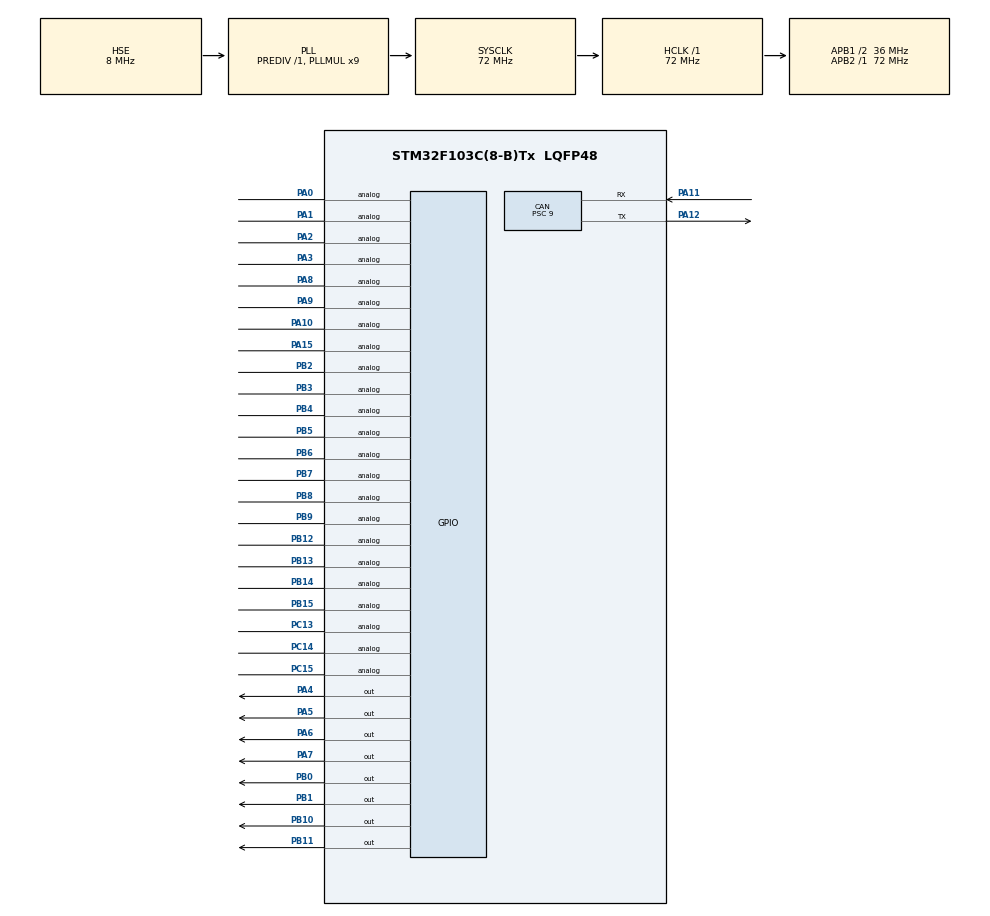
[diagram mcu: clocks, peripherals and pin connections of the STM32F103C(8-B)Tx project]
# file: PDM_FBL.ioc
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CAN.ABOM=ENABLE
CAN.AWUM=ENABLE
CAN.BS1=CAN_BS1_5TQ
CAN.BS2=CAN_BS2_2TQ
CAN.CalculateBaudRate=500000
CAN.CalculateTimeBit=2000
CAN.CalculateTimeQuantum=250.0
CAN.NART=ENABLE
CAN.Prescaler=9
CAN.RFLM=ENABLE
CAN.TTCM=ENABLE
CAN.TXFP=ENABLE
Mcu.Family=STM32F1
Mcu.Name=STM32F103C(8-B)Tx
Mcu.Package=LQFP48
NVIC.CAN1_RX1_IRQn=true\:0\:0\:true\:true\:true\:2\:true\:true\:true
NVIC.CAN1_SCE_IRQn=true\:0\:0\:true\:true\:true\:1\:true\:true\:true
NVIC.FLASH_IRQn=true\:5\:0\:true\:true\:true\:4\:true\:true\:true
NVIC.PVD_IRQn=true\:6\:0\:true\:true\:true\:5\:true\:true\:true
NVIC.PriorityGroup=NVIC_PRIORITYGROUP_4
NVIC.RCC_IRQn=true\:4\:0\:true\:true\:true\:3\:true\:false\:true
NVIC.USB_HP_CAN1_TX_IRQn=true\:0\:0\:false\:true\:true\:6\:true\:true\:true
NVIC.USB_LP_CAN1_RX0_IRQn=true\:0\:0\:false\:true\:true\:7\:true\:true\:true
PA0-WKUP.Signal=GPIO_Analog
PA1.Signal=GPIO_Analog
PA10.Signal=GPIO_Analog
PA11.GPIO_PuPd=GPIO_PULLUP
PA11.Mode=CAN_Activate
PA11.Signal=CAN_RX
PA12.Mode=CAN_Activate
PA12.Signal=CAN_TX
PA13.Mode=Serial_Wire
PA13.Signal=SYS_JTMS-SWDIO
PA14.Mode=Serial_Wire
PA14.Signal=SYS_JTCK-SWCLK
PA15.Signal=GPIO_Analog
PA2.Signal=GPIO_Analog
PA3.Signal=GPIO_Analog
PA4.GPIO_ModeDefaultOutputPP=GPIO_MODE_OUTPUT_PP
PA4.GPIO_PuPd=GPIO_PULLUP
PA4.GPIO_Speed=GPIO_SPEED_FREQ_HIGH
PA4.PinState=GPIO_PIN_SET
PA4.Signal=GPIO_Output
PA5.GPIO_ModeDefaultOutputPP=GPIO_MODE_OUTPUT_PP
PA5.GPIO_PuPd=GPIO_PULLUP
PA5.GPIO_Speed=GPIO_SPEED_FREQ_HIGH
PA5.PinState=GPIO_PIN_SET
PA5.Signal=GPIO_Output
PA6.GPIO_ModeDefaultOutputPP=GPIO_MODE_OUTPUT_PP
PA6.GPIO_PuPd=GPIO_PULLUP
PA6.GPIO_Speed=GPIO_SPEED_FREQ_HIGH
PA6.PinState=GPIO_PIN_SET
PA6.Signal=GPIO_Output
PA7.GPIO_ModeDefaultOutputPP=GPIO_MODE_OUTPUT_PP
PA7.GPIO_PuPd=GPIO_PULLUP
PA7.GPIO_Speed=GPIO_SPEED_FREQ_HIGH
PA7.PinState=GPIO_PIN_SET
PA7.Signal=GPIO_Output
PA8.Signal=GPIO_Analog
PA9.Signal=GPIO_Analog
PB0.GPIO_ModeDefaultOutputPP=GPIO_MODE_OUTPUT_PP
PB0.GPIO_PuPd=GPIO_PULLUP
PB0.GPIO_Speed=GPIO_SPEED_FREQ_HIGH
PB0.PinState=GPIO_PIN_SET
PB0.Signal=GPIO_Output
PB1.GPIO_ModeDefaultOutputPP=GPIO_MODE_OUTPUT_PP
PB1.GPIO_PuPd=GPIO_PULLUP
PB1.GPIO_Speed=GPIO_SPEED_FREQ_HIGH
PB1.PinState=GPIO_PIN_SET
PB1.Signal=GPIO_Output
PB10.GPIO_ModeDefaultOutputPP=GPIO_MODE_OUTPUT_PP
PB10.GPIO_PuPd=GPIO_PULLUP
PB10.GPIO_Speed=GPIO_SPEED_FREQ_HIGH
PB10.PinState=GPIO_PIN_SET
PB10.Signal=GPIO_Output
PB11.GPIO_ModeDefaultOutputPP=GPIO_MODE_OUTPUT_PP
PB11.GPIO_PuPd=GPIO_PULLUP
PB11.GPIO_Speed=GPIO_SPEED_FREQ_HIGH
PB11.PinState=GPIO_PIN_SET
PB11.Signal=GPIO_Output
PB12.Signal=GPIO_Analog
PB13.Signal=GPIO_Analog
PB14.Signal=GPIO_Analog
PB15.Signal=GPIO_Analog
PB2.Signal=GPIO_Analog
PB3.Signal=GPIO_Analog
PB4.Signal=GPIO_Analog
PB5.Signal=GPIO_Analog
PB6.Signal=GPIO_Analog
PB7.Signal=GPIO_Analog
PB8.Signal=GPIO_Analog
PB9.Signal=GPIO_Analog
PC13-TAMPER-RTC.Signal=GPIO_Analog
PC14-OSC32_IN.Signal=GPIO_Analog
PC15-OSC32_OUT.Signal=GPIO_Analog
PD0-OSC_IN.Mode=HSE-External-Oscillator
PD0-OSC_IN.Signal=RCC_OSC_IN
PD1-OSC_OUT.Mode=HSE-External-Oscillator
PD1-OSC_OUT.Signal=RCC_OSC_OUT
ProjectManager.HeapSize=0x300
ProjectManager.StackSize=0x500
ProjectManager.TargetToolchain=STM32CubeIDE
RCC.AHBFreq_Value=72000000
RCC.APB1CLKDivider=RCC_HCLK_DIV2
RCC.APB1Freq_Value=36000000
RCC.APB1TimFreq_Value=72000000
RCC.APB2Freq_Value=72000000
RCC.APB2TimFreq_Value=72000000
RCC.HCLKFreq_Value=72000000
RCC.PLLMUL=RCC_PLL_MUL9
RCC.PLLSourceVirtual=RCC_PLLSOURCE_HSE
RCC.SYSCLKFreq_VALUE=72000000
RCC.SYSCLKSource=RCC_SYSCLKSOURCE_PLLCLK
RCC.USBFreq_Value=72000000
board=custom

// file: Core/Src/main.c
/* USER CODE BEGIN Header */
/* USER CODE END Header */
#include "main.h"
#include "can.h"
#include "gpio.h"

/* USER CODE BEGIN Includes */
#include <string.h>
#include <stdbool.h>
/* USER CODE END Includes */

/* USER CODE BEGIN PTD */
typedef uint8_t uint8;
typedef uint16_t uint16;
typedef uint32_t uint32;
typedef enum
{
	DEFAULT = 0U,
	EXTENDED = 1U,
	PROGRAMMING = 2U,
	CALIBRATION = 4U,
	HARDRESET = 5U,
	JUMPTOAPPL = 7U
}FBL_DSC_t;
/* USER CODE END PTD */

/* USER CODE BEGIN PD */
#define SESSIONSTATUS_ADDR 					0x20004c20
#define APPL_START_ADDRESS 					0x8003C00
#define NCR_START_ADDRESS 					0x20004c00
#define NCR_END_ADDRESS   					0x20004fff
#define NCR_SIZE          					(NCR_END_ADDRESS - NCR_START_ADDRESS + 1)
/* USER CODE END PD */

/* USER CODE BEGIN PV */
uint8 FBL_RxFrame[8] = {0};
uint8 FBL_TxFrame[8] = {0};
CAN_RxHeaderTypeDef FBL_RxHeader = {0, 0, 0, 0, 0, 0, 0};
CAN_TxHeaderTypeDef FBL_TxHeader = {0, 0, 0, 0, 0, 0};
uint32 FBL_TxMailbox = 0;
uint32* FBL_DSC_Pointer = (uint32*)(SESSIONSTATUS_ADDR);
FBL_DSC_t FBL_DSC_State = JUMPTOAPPL;
uint32 FBL_ProgrammingData = 0;
uint32 FBL_ProgrammingIndex = 0;
uint32 FBL_ProgrammingAddress = 0;
uint32 ROM_APPL_START_ADDR_storedValue = 0;
uint32 ROM_APPL_START_ADDR = 0x8003C00;
uint32 FBL_DSC_Status = 0;
/* USER CODE END PV */

void SystemClock_Config(void);
static void MX_NVIC_Init(void);
/* USER CODE BEGIN PFP */
void FBL_JumpToAppl(void);
void FBL_DiagService_ER_SoftReset(void);
void FBL_DiagService_ER_HardReset(void);
void FBL_DiagService_DSC_Programming(void);
void FBL_DiagService_DSC_CodingSession(void);
void FBL_DiagService_DSC_Calibration(void);
void FBL_DiagService_DSC_RequestDownload(void);
void FBL_DiagService_DSC_TransferData(void);
void FBL_DiagService_DSC_RequestTransferExit(void);
void FBL_DiagService_RAR_MassEraseAPPL(void);
void FBL_DiagService_RAR_MassEraseCALIBRATION(void);
void FBL_DiagService_RDBI_ReadActiveDiagnosticSession(void);
void FBL_NvM_FlashReadData(uint32 StartSectorAddress, uint32 *RxBuf, uint16 numberofwords);
uint32 FBL_NvM_FlashWriteData(uint32 StartSectorAddress, uint32 *Data, uint16 numberofwords);
uint32 FBL_NvM_EraseFlash_APPL(void);
uint32 FBL_NvM_EraseFlash_CALIBRATION(void);
/* USER CODE END PFP */

/* USER CODE BEGIN 0 */
void HAL_CAN_RxFifo0FullCallback(CAN_HandleTypeDef *hcan)
{
	/* Pending and full callbacks used to make sure no message is lost. */
	HAL_CAN_GetRxMessage(hcan, CAN_RX_FIFO0, &FBL_RxHeader, FBL_RxFrame);
	switch(FBL_DSC_State)
	{
	case PROGRAMMING:
		FBL_DiagService_DSC_Programming();
		break;
	case CALIBRATION:
		FBL_DiagService_DSC_Calibration();
		break;
	case HARDRESET:
		FBL_DiagService_ER_HardReset();
		break;
	default:/* Default case to allow programming in case of faulty application software. */
		if(FBL_RxFrame[1] == 0x10 &&
				FBL_RxFrame[2] == 0x02)
		{
			FBL_TxHeader.DLC = FBL_RxHeader.DLC;
			FBL_TxHeader.StdId = FBL_RxHeader.StdId + 1;
			FBL_TxFrame[0] = FBL_RxFrame[0];
			FBL_TxFrame[1] = FBL_RxFrame[1] + 0x40;
			FBL_TxFrame[2] = FBL_RxFrame[2];
			FBL_DSC_State = PROGRAMMING;
			HAL_CAN_AddTxMessage(hcan, &FBL_TxHeader, FBL_TxFrame, &FBL_TxMailbox);
			FBL_DiagService_DSC_Programming();
		}
		else
		{
			/* Do nothing. */
		}
		break;
	}
}
void HAL_CAN_RxFifo0MsgPendingCallback(CAN_HandleTypeDef *hcan)
{
	/* Pending and full callbacks used to make sure no message is lost. */
	HAL_CAN_GetRxMessage(hcan, CAN_RX_FIFO0, &FBL_RxHeader, FBL_RxFrame);
	switch(FBL_DSC_State)
	{
	case PROGRAMMING:
		FBL_DiagService_DSC_Programming();
		break;
	case CALIBRATION:
		FBL_DiagService_DSC_Calibration();
		break;
	case HARDRESET:
		FBL_DiagService_ER_HardReset();
		break;
	default:
		if(FBL_RxFrame[1] == 0x10 &&
				FBL_RxFrame[2] == 0x02)
		{
			FBL_TxHeader.DLC = FBL_RxHeader.DLC;
			FBL_TxHeader.StdId = FBL_RxHeader.StdId + 1;
			FBL_TxFrame[0] = FBL_RxFrame[0];
			FBL_TxFrame[1] = FBL_RxFrame[1] + 0x40;
			FBL_TxFrame[2] = FBL_RxFrame[2];
			FBL_DSC_State = PROGRAMMING;
			HAL_CAN_AddTxMessage(hcan, &FBL_TxHeader, FBL_TxFrame, &FBL_TxMailbox);
			FBL_DiagService_DSC_Programming();
		}
		else
		{
			/* Do nothing. */
		}
		break;
	}
}
/* USER CODE END 0 */

int main(void)
{

  /* MCU Configuration--------------------------------------------------------*/

  /* Reset of all peripherals, Initializes the Flash interface and the Systick. */
  HAL_Init();

  /* Configure the system clock */
  SystemClock_Config();

  /* Initialize all configured peripherals */
  MX_GPIO_Init();
  MX_CAN_Init();

  /* Initialize interrupts */
  MX_NVIC_Init();
  /* USER CODE BEGIN 2 */
	FBL_ProgrammingAddress = 0;
	FBL_ProgrammingIndex = 0;
	FBL_NvM_FlashReadData(ROM_APPL_START_ADDR, &ROM_APPL_START_ADDR_storedValue, 1);
	if(ROM_APPL_START_ADDR_storedValue != 0xFFFFFFFF)
	{
		FBL_DSC_Pointer = (uint32*)(SESSIONSTATUS_ADDR);
		FBL_DSC_Status = *FBL_DSC_Pointer;
	}
	else
	{
		/* Do nothing. */
	}
	if((FBL_DSC_Status == PROGRAMMING)
			|| (FBL_DSC_Status == CALIBRATION))
	{
		FBL_DSC_State = FBL_DSC_Status;
	}
	else
	{
		if(ROM_APPL_START_ADDR_storedValue != 0xFFFFFFFF)
		{
			if((RCC->CSR & RCC_CSR_PORRSTF) != 0)
			{
				for(uint32* addr = ((uint32_t*)NCR_START_ADDRESS); addr <= ((uint32_t*)NCR_END_ADDRESS); addr++) *addr = 0;
				/* Reset the flag. */
				RCC->CSR |= RCC_CSR_PORRSTF;
				RCC->CSR |= RCC_CSR_RMVF;
			}
			else
			{
				/* Do nothing. */
			}
			FBL_JumpToAppl();
		}
		else
		{
			/* Do nothing. */
		}
	}
  /* USER CODE END 2 */

  /* Infinite loop */
	while (1)
	{

	}
}

void SystemClock_Config(void)
{
  RCC_OscInitTypeDef RCC_OscInitStruct = {0};
  RCC_ClkInitTypeDef RCC_ClkInitStruct = {0};

  /** Initializes the RCC Oscillators according to the specified parameters
  * in the RCC_OscInitTypeDef structure.
  */
  RCC_OscInitStruct.OscillatorType = RCC_OSCILLATORTYPE_HSE;
  RCC_OscInitStruct.HSEState = RCC_HSE_ON;
  RCC_OscInitStruct.HSEPredivValue = RCC_HSE_PREDIV_DIV1;
  RCC_OscInitStruct.HSIState = RCC_HSI_ON;
  RCC_OscInitStruct.PLL.PLLState = RCC_PLL_ON;
  RCC_OscInitStruct.PLL.PLLSource = RCC_PLLSOURCE_HSE;
  RCC_OscInitStruct.PLL.PLLMUL = RCC_PLL_MUL9;
  if (HAL_RCC_OscConfig(&RCC_OscInitStruct) != HAL_OK)
  {
    Error_Handler();
  }

  /** Initializes the CPU, AHB and APB buses clocks
  */
  RCC_ClkInitStruct.ClockType = RCC_CLOCKTYPE_HCLK|RCC_CLOCKTYPE_SYSCLK
                              |RCC_CLOCKTYPE_PCLK1|RCC_CLOCKTYPE_PCLK2;
  RCC_ClkInitStruct.SYSCLKSource = RCC_SYSCLKSOURCE_PLLCLK;
  RCC_ClkInitStruct.AHBCLKDivider = RCC_SYSCLK_DIV1;
  RCC_ClkInitStruct.APB1CLKDivider = RCC_HCLK_DIV2;
  RCC_ClkInitStruct.APB2CLKDivider = RCC_HCLK_DIV1;

  if (HAL_RCC_ClockConfig(&RCC_ClkInitStruct, FLASH_LATENCY_2) != HAL_OK)
  {
    Error_Handler();
  }
}

/**
  * @brief NVIC Configuration.
  * @retval None
  */
static void MX_NVIC_Init(void)
{
  /* CAN1_SCE_IRQn interrupt configuration */
  HAL_NVIC_SetPriority(CAN1_SCE_IRQn, 0, 0);
  HAL_NVIC_EnableIRQ(CAN1_SCE_IRQn);
  /* CAN1_RX1_IRQn interrupt configuration */
  HAL_NVIC_SetPriority(CAN1_RX1_IRQn, 0, 0);
  HAL_NVIC_EnableIRQ(CAN1_RX1_IRQn);
  /* RCC_IRQn interrupt configuration */
  HAL_NVIC_SetPriority(RCC_IRQn, 4, 0);
  HAL_NVIC_EnableIRQ(RCC_IRQn);
  /* FLASH_IRQn interrupt configuration */
  HAL_NVIC_SetPriority(FLASH_IRQn, 5, 0);
  HAL_NVIC_EnableIRQ(FLASH_IRQn);
  /* PVD_IRQn interrupt configuration */
  HAL_NVIC_SetPriority(PVD_IRQn, 6, 0);
  HAL_NVIC_EnableIRQ(PVD_IRQn);
  /* USB_HP_CAN1_TX_IRQn interrupt configuration */
  HAL_NVIC_SetPriority(USB_HP_CAN1_TX_IRQn, 0, 0);
  HAL_NVIC_EnableIRQ(USB_HP_CAN1_TX_IRQn);
  /* USB_LP_CAN1_RX0_IRQn interrupt configuration */
  HAL_NVIC_SetPriority(USB_LP_CAN1_RX0_IRQn, 0, 0);
  HAL_NVIC_EnableIRQ(USB_LP_CAN1_RX0_IRQn);
}

/* USER CODE BEGIN 4 */
uint32 Nvm_GetPage(uint32 Address);
uint32 Nvm_FlashWriteData(uint32 StartPageAddress, uint32 *Data, uint16 numberofwords);
uint32 FBL_NvM_EraseFlash_APPL(void)
{
	static FLASH_EraseInitTypeDef EraseInitStruct;
	uint32 PAGEError;
	uint32 StartPage = 0x8004000;
	uint32 EndPageAdress = 0x800f7ff;
	uint32 EndPage = Nvm_GetPage(EndPageAdress);
	HAL_FLASH_Unlock();
	EraseInitStruct.TypeErase   = FLASH_TYPEERASE_PAGES;
	EraseInitStruct.PageAddress = StartPage;
	EraseInitStruct.NbPages     = ((EndPage - StartPage)/FLASH_PAGE_SIZE) +1;
	if (HAL_FLASHEx_Erase(&EraseInitStruct, &PAGEError) != HAL_OK)
	{
		return HAL_FLASH_GetError ();
	}
	else
	{
		/* Do nothing. */
	}
	HAL_FLASH_Lock();
	return 0;
}
uint32 FBL_NvM_EraseFlash_CALIBRATION(void)
{
	static FLASH_EraseInitTypeDef EraseInitStruct;
	uint32 PAGEError;
	uint32 StartPage = 0x0800F800;
	uint32 EndPageAdress = 0x0800FBFF;
	uint32 EndPage = Nvm_GetPage(EndPageAdress);
	HAL_FLASH_Unlock();
	EraseInitStruct.TypeErase   = FLASH_TYPEERASE_PAGES;
	EraseInitStruct.PageAddress = StartPage;
	EraseInitStruct.NbPages     = ((EndPage - StartPage)/FLASH_PAGE_SIZE) +1;
	if (HAL_FLASHEx_Erase(&EraseInitStruct, &PAGEError) != HAL_OK)
	{
		return HAL_FLASH_GetError ();
	}
	else
	{
		/* Do nothing. */
	}
	HAL_FLASH_Lock();
	return 0;
}
uint32 Nvm_GetPage(uint32 Address)
{
	for (uint8 indx=0; indx < 128; indx++) if((Address < (0x08000000 + (FLASH_PAGE_SIZE *(indx + 1))) ) && (Address >= (0x08000000 + FLASH_PAGE_SIZE * indx))) return (0x08000000 + FLASH_PAGE_SIZE * indx);
	return 0;
}
uint32 FBL_NvM_FlashWriteData(uint32 StartPageAddress, uint32 *Data, uint16 numberofwords)
{
	__disable_irq();
	uint32 sofar=0;
	HAL_FLASH_Unlock();
	while (sofar<numberofwords)
	{
		if (HAL_FLASH_Program(FLASH_TYPEPROGRAM_WORD, StartPageAddress, Data[sofar]) == HAL_OK)
		{
			StartPageAddress += 4;
			sofar++;
		}
		else
		{
			return HAL_FLASH_GetError ();
		}
	}
	HAL_FLASH_Lock();
	__enable_irq();
	return 0;
}
void FBL_NvM_FlashReadData(uint32 StartPageAddress, uint32 *RxBuf, uint16 numberofwords)
{
	__disable_irq();
	for (uint16 i = 0; i < numberofwords; i++) RxBuf[i] = *(__IO uint32 *)(StartPageAddress + (i * 4));
	__enable_irq();
}

void FBL_DiagService_DSC_RequestDownload(void)
{
	FBL_TxHeader.DLC = FBL_RxHeader.DLC;
	FBL_TxHeader.StdId = FBL_RxHeader.StdId + 1;
	FBL_TxFrame[0] = FBL_RxFrame[0];
	FBL_TxFrame[1] = FBL_RxFrame[1] + 0x40;
	FBL_TxFrame[2] = FBL_RxFrame[2];
	FBL_TxFrame[3] = FBL_RxFrame[3];
	FBL_TxFrame[4] = FBL_RxFrame[4];
	HAL_CAN_AddTxMessage(&hcan, &FBL_TxHeader, FBL_TxFrame, &FBL_TxMailbox);
	for(uint8 i = 0; i < 8 ; i++) FBL_TxFrame[i] = 0;
	FBL_TxHeader.DLC = 0;
	FBL_TxHeader.ExtId = 0;
	FBL_TxHeader.IDE = 0;
	FBL_TxHeader.RTR = 0;
	FBL_TxHeader.StdId = 0;
	FBL_TxHeader.TransmitGlobalTime = 0;
	FBL_TxMailbox = 0;
	FBL_RxHeader.StdId = 0;
	FBL_RxHeader.DLC = 0;
	FBL_RxHeader.ExtId = 0;
	FBL_RxHeader.FilterMatchIndex = 0;
	FBL_RxHeader.IDE = 0;
	FBL_RxHeader.RTR = 0;
	FBL_RxHeader.Timestamp = 0;
	for(uint8 i = 0; i < 8; i++) FBL_RxFrame[i] = 0;
}
void FBL_DiagService_DSC_TransferData(void)
{
	if(PROGRAMMING == FBL_DSC_State)
	{
		FBL_ProgrammingData = (FBL_RxFrame[6] << 24) | (FBL_RxFrame[5] << 16) | (FBL_RxFrame[4] << 8) | FBL_RxFrame[3];
		FBL_NvM_FlashWriteData(FBL_ProgrammingAddress, &FBL_ProgrammingData, 1);
		FBL_ProgrammingAddress += 4;
		FBL_ProgrammingIndex += 1;
		FBL_TxHeader.DLC = FBL_RxHeader.DLC;
		FBL_TxHeader.StdId = FBL_RxHeader.StdId + 1;
		FBL_TxFrame[0] = FBL_RxFrame[0];
		FBL_TxFrame[1] = FBL_RxFrame[1] + 0x40;
		FBL_TxFrame[2] = FBL_RxFrame[2];
		HAL_CAN_AddTxMessage(&hcan, &FBL_TxHeader, FBL_TxFrame, &FBL_TxMailbox);
	}
	else if(CALIBRATION == FBL_DSC_State)
	{
		FBL_ProgrammingData = (FBL_RxFrame[6] << 0) | (FBL_RxFrame[5] << 8) | (FBL_RxFrame[4] << 16) | (FBL_RxFrame[3] << 24);
		FBL_NvM_FlashWriteData(FBL_ProgrammingAddress, &FBL_ProgrammingData, 1);
		FBL_ProgrammingAddress += 4;
		FBL_ProgrammingIndex += 1;
		FBL_TxHeader.DLC = FBL_RxHeader.DLC;
		FBL_TxHeader.StdId = FBL_RxHeader.StdId + 1;
		FBL_TxFrame[0] = FBL_RxFrame[0];
		FBL_TxFrame[1] = FBL_RxFrame[1] + 0x40;
		FBL_TxFrame[2] = FBL_RxFrame[2];
		HAL_CAN_AddTxMessage(&hcan, &FBL_TxHeader, FBL_TxFrame, &FBL_TxMailbox);
	}
	else
	{
		/* Do nothing. */
	}
	for(uint8 i = 0; i < 8 ; i++) FBL_TxFrame[i] = 0;
	FBL_TxHeader.DLC = 0;
	FBL_TxHeader.ExtId = 0;
	FBL_TxHeader.IDE = 0;
	FBL_TxHeader.RTR = 0;
	FBL_TxHeader.StdId = 0;
	FBL_TxHeader.TransmitGlobalTime = 0;
	FBL_TxMailbox = 0;
	FBL_RxHeader.StdId = 0;
	FBL_RxHeader.DLC = 0;
	FBL_RxHeader.ExtId = 0;
	FBL_RxHeader.FilterMatchIndex = 0;
	FBL_RxHeader.IDE = 0;
	FBL_RxHeader.RTR = 0;
	FBL_RxHeader.Timestamp = 0;
	for(uint8 i = 0; i < 8; i++) FBL_RxFrame[i] = 0;
}
void FBL_DiagService_DSC_RequestTransferExit(void)
{
	FBL_TxHeader.DLC = FBL_RxHeader.DLC;
	FBL_TxHeader.StdId = FBL_RxHeader.StdId + 1;
	FBL_TxFrame[0] = FBL_RxFrame[0];
	FBL_TxFrame[1] = FBL_RxFrame[1] + 0x40;
	FBL_TxFrame[2] = FBL_RxFrame[2];
	HAL_CAN_AddTxMessage(&hcan, &FBL_TxHeader, FBL_TxFrame, &FBL_TxMailbox);
	for(uint8 i = 0; i < 8 ; i++) FBL_TxFrame[i] = 0;
	FBL_TxHeader.DLC = 0;
	FBL_TxHeader.ExtId = 0;
	FBL_TxHeader.IDE = 0;
	FBL_TxHeader.RTR = 0;
	FBL_TxHeader.StdId = 0;
	FBL_TxHeader.TransmitGlobalTime = 0;
	FBL_TxMailbox = 0;
	FBL_RxHeader.StdId = 0;
	FBL_RxHeader.DLC = 0;
	FBL_RxHeader.ExtId = 0;
	FBL_RxHeader.FilterMatchIndex = 0;
	FBL_RxHeader.IDE = 0;
	FBL_RxHeader.RTR = 0;
	FBL_RxHeader.Timestamp = 0;
	for(uint8 i = 0; i < 8; i++) FBL_RxFrame[i] = 0;
}
void FBL_DiagService_RAR_MassEraseCALIBRATION(void)
{
	FBL_TxHeader.DLC = 0x05;
	FBL_TxHeader.StdId = FBL_RxHeader.StdId + 1;
	FBL_TxFrame[0] = 0x04;
	FBL_TxFrame[1] = 0x71;
	FBL_TxFrame[2] = 0x00;
	FBL_TxFrame[3] = 0x00;
	FBL_TxFrame[4] = 0x02;
	HAL_CAN_AddTxMessage(&hcan, &FBL_TxHeader, FBL_TxFrame, &FBL_TxMailbox);
	FBL_NvM_EraseFlash_CALIBRATION();
	for(uint8 i = 0; i < 8 ; i++) FBL_TxFrame[i] = 0;
	FBL_TxHeader.DLC = 0;
	FBL_TxHeader.ExtId = 0;
	FBL_TxHeader.IDE = 0;
	FBL_TxHeader.RTR = 0;
	FBL_TxHeader.StdId = 0;
	FBL_TxHeader.TransmitGlobalTime = 0;
	FBL_TxMailbox = 0;
	FBL_RxHeader.StdId = 0;
	FBL_RxHeader.DLC = 0;
	FBL_RxHeader.ExtId = 0;
	FBL_RxHeader.FilterMatchIndex = 0;
	FBL_RxHeader.IDE = 0;
	FBL_RxHeader.RTR = 0;
	FBL_RxHeader.Timestamp = 0;
	for(uint8 i = 0; i < 8; i++) FBL_RxFrame[i] = 0;
}
void FBL_DiagService_RAR_MassEraseAPPL(void)
{
	FBL_TxHeader.DLC = FBL_RxHeader.DLC;
	FBL_TxHeader.StdId = FBL_RxHeader.StdId + 1;
	FBL_TxFrame[0] = FBL_RxFrame[0];
	FBL_TxFrame[1] = FBL_RxFrame[1] + 0x40;
	FBL_TxFrame[2] = FBL_RxFrame[2];
	HAL_CAN_AddTxMessage(&hcan, &FBL_TxHeader, FBL_TxFrame, &FBL_TxMailbox);
	FBL_NvM_EraseFlash_APPL();
	for(uint8 i = 0; i < 8 ; i++) FBL_TxFrame[i] = 0;
	FBL_TxHeader.DLC = 0;
	FBL_TxHeader.ExtId = 0;
	FBL_TxHeader.IDE = 0;
	FBL_TxHeader.RTR = 0;
	FBL_TxHeader.StdId = 0;
	FBL_TxHeader.TransmitGlobalTime = 0;
	FBL_TxMailbox = 0;
	FBL_RxHeader.StdId = 0;
	FBL_RxHeader.DLC = 0;
	FBL_RxHeader.ExtId = 0;
	FBL_RxHeader.FilterMatchIndex = 0;
	FBL_RxHeader.IDE = 0;
	FBL_RxHeader.RTR = 0;
	FBL_RxHeader.Timestamp = 0;
	for(uint8 i = 0; i < 8; i++) FBL_RxFrame[i] = 0;
}
void FBL_JumpToAppl(void)
{
	typedef void (*pFunction)(void);
	static uint32 app_address = APPL_START_ADDRESS;
	static pFunction app_entry;
	uint32 msp_value = *((uint32*)app_address);
	__disable_irq(); // disable interrupts because the controller can't alone and will have interrupts triggered in the application for some reason...
	HAL_NVIC_ClearPendingIRQ(CAN1_SCE_IRQn); // manually clear the interrupts because why not...
	HAL_NVIC_ClearPendingIRQ(CAN1_RX1_IRQn);
	HAL_NVIC_ClearPendingIRQ(USB_LP_CAN1_RX0_IRQn);
	HAL_NVIC_ClearPendingIRQ(USB_HP_CAN1_TX_IRQn);
	HAL_NVIC_ClearPendingIRQ(RCC_IRQn);
	HAL_NVIC_ClearPendingIRQ(FLASH_IRQn);
	HAL_NVIC_ClearPendingIRQ(PVD_IRQn);
	SysTick->CTRL = 0; // manually disable sys tick because it will not by itself...
	SysTick->LOAD = 0;
	SysTick->VAL = 0;
	SCB->VTOR = app_address;
	__set_MSP(msp_value);
	app_entry = (pFunction)(*((uint32*)(app_address + 4)));
	app_entry(); // goto app
}
void FBL_DiagService_ER_HardReset(void)
{
	__disable_irq();
	*FBL_DSC_Pointer = 0;
	__NVIC_SystemReset();
}
void FBL_DiagService_RDBI_ReadActiveDiagnosticSession(void)
{
	FBL_TxHeader.DLC = 5;
	FBL_TxHeader.StdId = FBL_RxHeader.StdId + 1;
	FBL_TxFrame[0] = 0x04;
	FBL_TxFrame[1] = FBL_RxFrame[1] + 0x40;
	FBL_TxFrame[2] = FBL_RxFrame[2];
	FBL_TxFrame[3] = FBL_RxFrame[3];
	FBL_TxFrame[4] = FBL_DSC_State;
	HAL_CAN_AddTxMessage(&hcan, &FBL_TxHeader, FBL_TxFrame, &FBL_TxMailbox);
	for(uint8 i = 0; i < 8 ; i++) FBL_TxFrame[i] = 0;
	FBL_TxHeader.DLC = 0;
	FBL_TxHeader.ExtId = 0;
	FBL_TxHeader.IDE = 0;
	FBL_TxHeader.RTR = 0;
	FBL_TxHeader.StdId = 0;
	FBL_TxHeader.TransmitGlobalTime = 0;
	FBL_TxMailbox = 0;
	FBL_RxHeader.StdId = 0;
	FBL_RxHeader.DLC = 0;
	FBL_RxHeader.ExtId = 0;
	FBL_RxHeader.FilterMatchIndex = 0;
	FBL_RxHeader.IDE = 0;
	FBL_RxHeader.RTR = 0;
	FBL_RxHeader.Timestamp = 0;
	for(uint8 i = 0; i < 8; i++) FBL_RxFrame[i] = 0;
}
void FBL_DiagService_DSC_Programming(void)
{
	if(FBL_RxFrame[1] == 0x22 &&
			FBL_RxFrame[2] == 0xF1 &&
			FBL_RxFrame[3] == 0x86)
	{
		FBL_DiagService_RDBI_ReadActiveDiagnosticSession();
	}
	else
	{
		/* Do nothing. */
	}
	if(FBL_RxFrame[0] == 0x04 &&
			FBL_RxFrame[1] == 0x31 &&
			FBL_RxFrame[4] == 0x00)
	{
		FBL_DiagService_RAR_MassEraseAPPL();
	}
	else
	{
		/* Do nothing. */
	}
	if(FBL_RxFrame[1] == 0x34)
	{
		FBL_ProgrammingAddress = (0x08 << 24)
		| (FBL_RxFrame[4] << 16)
		| (FBL_RxFrame[5] << 8)
		| (FBL_RxFrame[6]);
		FBL_DiagService_DSC_RequestDownload();
	}
	else
	{
		/* Do nothing. */
	}
	if(FBL_RxFrame[1] == 0x36)
	{
		FBL_DiagService_DSC_TransferData();
	}
	else
	{
		/* Do nothing. */
	}
	if(FBL_RxFrame[1] == 0x37
			&& FBL_RxFrame[0] == 0x01)
	{
		FBL_DiagService_DSC_RequestTransferExit();
	}
	else
	{
		/* Do nothing. */
	}
	if(FBL_RxFrame[1] == 0x10 &&
			FBL_RxFrame[2] == 0x05)
	{
		FBL_DSC_State = CALIBRATION;
		FBL_TxHeader.DLC = FBL_RxHeader.DLC;
		FBL_TxHeader.StdId = FBL_RxHeader.StdId + 1;
		FBL_TxFrame[0] = FBL_RxFrame[0];
		FBL_TxFrame[1] = FBL_RxFrame[1] + 0x40;
		FBL_TxFrame[2] = FBL_RxFrame[2];
		FBL_TxFrame[3] = FBL_RxFrame[3];
		HAL_CAN_AddTxMessage(&hcan, &FBL_TxHeader, FBL_TxFrame, &FBL_TxMailbox);
		for(uint8 i = 0; i < 8 ; i++)
		{
			FBL_TxFrame[i] = 0;
		}
		FBL_TxHeader.DLC = 0;
		FBL_TxHeader.ExtId = 0;
		FBL_TxHeader.IDE = 0;
		FBL_TxHeader.RTR = 0;
		FBL_TxHeader.StdId = 0;
		FBL_TxHeader.TransmitGlobalTime = 0;
		FBL_TxMailbox = 0;
	}
	if(FBL_RxFrame[1] == 0x11 &&
			FBL_RxFrame[2] == 0x01)
	{
		FBL_TxHeader.DLC = FBL_RxHeader.DLC;
		FBL_TxHeader.StdId = FBL_RxHeader.StdId + 1;
		FBL_TxFrame[0] = FBL_RxFrame[0];
		FBL_TxFrame[1] = FBL_RxFrame[1] + 0x40;
		FBL_TxFrame[2] = FBL_RxFrame[2];
		FBL_TxFrame[3] = FBL_RxFrame[3];
		HAL_CAN_AddTxMessage(&hcan, &FBL_TxHeader, FBL_TxFrame, &FBL_TxMailbox);
		for(uint32 i = 0; i < 9000; i++);
		FBL_DiagService_ER_HardReset();
	}
	else
	{
		/* Do nothing. */
	}
	for(uint8 i = 0; i < 8 ; i++) FBL_TxFrame[i] = 0;
	FBL_TxHeader.DLC = 0;
	FBL_TxHeader.ExtId = 0;
	FBL_TxHeader.IDE = 0;
	FBL_TxHeader.RTR = 0;
	FBL_TxHeader.StdId = 0;
	FBL_TxHeader.TransmitGlobalTime = 0;
	FBL_TxMailbox = 0;
	FBL_RxHeader.StdId = 0;
	FBL_RxHeader.DLC = 0;
	FBL_RxHeader.ExtId = 0;
	FBL_RxHeader.FilterMatchIndex = 0;
	FBL_RxHeader.IDE = 0;
	FBL_RxHeader.RTR = 0;
	FBL_RxHeader.Timestamp = 0;
	for(uint8 i = 0; i < 8; i++) FBL_RxFrame[i] = 0;
}
void FBL_DiagService_DSC_Calibration(void)
{
	if(FBL_RxFrame[1] == 0x22 &&
			FBL_RxFrame[2] == 0xF1 &&
			FBL_RxFrame[3] == 0x86)
	{
		FBL_DiagService_RDBI_ReadActiveDiagnosticSession();
	}
	else
	{
		/* Do nothing. */
	}
	if(FBL_RxFrame[0] == 0x04 &&
			FBL_RxFrame[1] == 0x31 &&
			FBL_RxFrame[4] == 0x02)
	{
		FBL_DiagService_RAR_MassEraseCALIBRATION();
	}
	else
	{
		/* Do nothing. */
	}
	if(FBL_RxFrame[1] == 0x34)
	{
		if(FBL_ProgrammingAddress == 0)
		{
			FBL_ProgrammingAddress = 0x0800F800;
		}
		else
		{
			/* Do nothing. */
		}

		FBL_DiagService_DSC_RequestDownload();
	}
	else
	{
		/* Do nothing. */
	}
	if(FBL_RxFrame[1] == 0x36)
	{
		FBL_DiagService_DSC_TransferData();
	}
	else
	{
		/* Do nothing. */
	}
	if(FBL_RxFrame[1] == 0x37
			&& FBL_RxFrame[0] == 0x01)
	{
		FBL_DiagService_DSC_RequestTransferExit();
	}
	else
	{
		/* Do nothing. */
	}
	if(FBL_RxFrame[1] == 0x10 &&
			FBL_RxFrame[2] == 0x02)
	{
		FBL_DSC_State = PROGRAMMING;
		FBL_TxHeader.DLC = FBL_RxHeader.DLC;
		FBL_TxHeader.StdId = FBL_RxHeader.StdId + 1;
		FBL_TxFrame[0] = FBL_RxFrame[0];
		FBL_TxFrame[1] = FBL_RxFrame[1] + 0x40;
		FBL_TxFrame[2] = FBL_RxFrame[2];
		FBL_TxFrame[3] = FBL_RxFrame[3];
		HAL_CAN_AddTxMessage(&hcan, &FBL_TxHeader, FBL_TxFrame, &FBL_TxMailbox);
		for(uint8 i = 0; i < 8 ; i++)
		{
			FBL_TxFrame[i] = 0;
		}
		FBL_TxHeader.DLC = 0;
		FBL_TxHeader.ExtId = 0;
		FBL_TxHeader.IDE = 0;
		FBL_TxHeader.RTR = 0;
		FBL_TxHeader.StdId = 0;
		FBL_TxHeader.TransmitGlobalTime = 0;
		FBL_TxMailbox = 0;
	}
	if(FBL_RxFrame[1] == 0x11 &&
			FBL_RxFrame[2] == 0x01)
	{
		FBL_TxHeader.DLC = FBL_RxHeader.DLC;
		FBL_TxHeader.StdId = FBL_RxHeader.StdId + 1;
		FBL_TxFrame[0] = FBL_RxFrame[0];
		FBL_TxFrame[1] = FBL_RxFrame[1] + 0x40;
		FBL_TxFrame[2] = FBL_RxFrame[2];
		FBL_TxFrame[3] = FBL_RxFrame[3];
		HAL_CAN_AddTxMessage(&hcan, &FBL_TxHeader, FBL_TxFrame, &FBL_TxMailbox);
		for(uint32 i = 0; i < 9000; i++);
		FBL_DiagService_ER_HardReset();
	}
	else
	{
		/* Do nothing. */
	}
	FBL_RxHeader.StdId = 0;
	FBL_RxHeader.DLC = 0;
	FBL_RxHeader.ExtId = 0;
	FBL_RxHeader.FilterMatchIndex = 0;
	FBL_RxHeader.IDE = 0;
	FBL_RxHeader.RTR = 0;
	FBL_RxHeader.Timestamp = 0;
	for(uint8 i = 0; i < 8; i++)
	{
		FBL_RxFrame[i] = 0;
	}
}
/* USER CODE END 4 */

void Error_Handler(void)
{
  /* USER CODE BEGIN Error_Handler_Debug */
	__disable_irq();
	__NVIC_SystemReset();
	while (1)
	{
	}
  /* USER CODE END Error_Handler_Debug */
}
